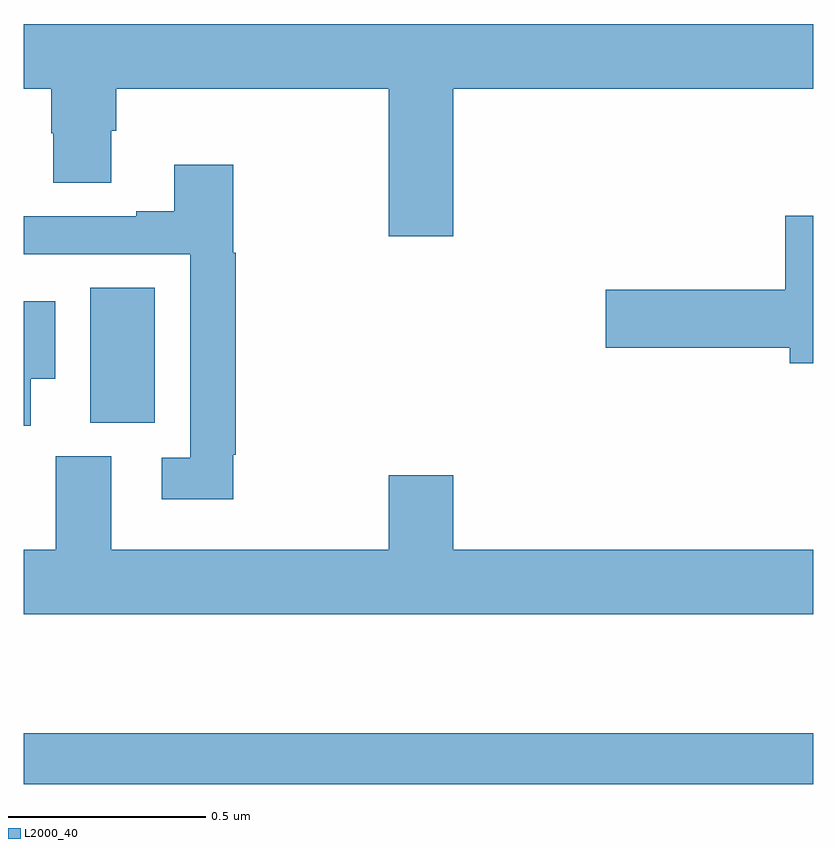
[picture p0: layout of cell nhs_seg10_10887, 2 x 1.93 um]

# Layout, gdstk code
import gdstk
lib = gdstk.Library(unit=1e-6, precision=1e-09)
def R(c, l, rs):  # rectangles x0, y0, x1, y1
    for r in rs: c.add(gdstk.rectangle(r[:2], r[2:], *l))
def P(c, l, *ps):  # polygons
    for p in ps: c.add(gdstk.Polygon(p, *l))
L2000_40 = (2000, 40)

nhs_seg10_10887 = lib.new_cell('nhs_seg10_10887')
R(nhs_seg10_10887, L2000_40, [(248,1290.562,250,1290.691), (248.168,1291.477,248.332,1291.82)])
P(nhs_seg10_10887, L2000_40, [(248,1292.324),(248.069,1292.324),(248.069,1292.211),(248.074,1292.211),(248.074,1292.086),(248.221,1292.086),(248.221,1292.218),(248.234,1292.218),(248.234,1292.324),(248.924,1292.324),(248.924,1291.95),(249.088,1291.95),(249.088,1292.324),(250,1292.324),(250,1292.488),(248,1292.488)],
  [(248.53,1291.396),(248.537,1291.396),(248.537,1291.908),(248.53,1291.908),(248.53,1292.131),(248.381,1292.131),(248.381,1292.014),(248.285,1292.014),(248.285,1292.001),(248,1292.001),(248,1291.905),(248.421,1291.905),(248.421,1291.389),(248.349,1291.389),(248.349,1291.284),(248.53,1291.284)],
  [(250,1292.002),(249.929,1292.002),(249.929,1291.814),(249.474,1291.814),(249.474,1291.667),(249.941,1291.667),(249.941,1291.628),(250,1291.628)],
  [(248.017,1291.589),(248.08,1291.589),(248.08,1291.786),(248,1291.786),(248,1291.47),(248.017,1291.47)],
  [(250,1291.156),(249.088,1291.156),(249.088,1291.345),(248.924,1291.345),(248.924,1291.156),(248.221,1291.156),(248.221,1291.392),(248.081,1291.392),(248.081,1291.156),(248,1291.156),(248,1290.992),(250,1290.992)])

lib.write_gds('nhs_seg10_10887.gds')
